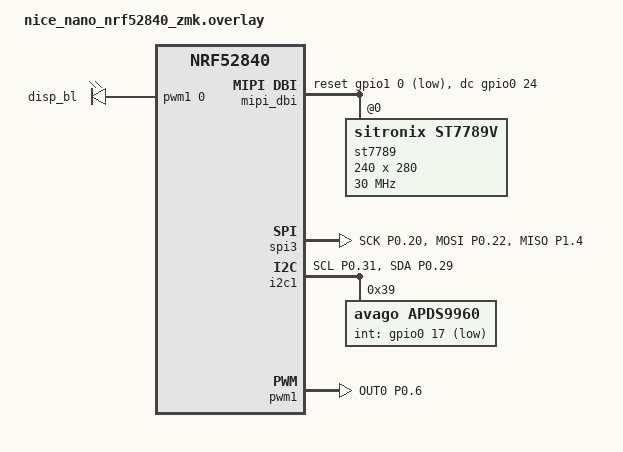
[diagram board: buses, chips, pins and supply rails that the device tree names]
/*
 * nice!nano v2 overlay for prospector_adapter
 *
 * Pin mapping (nice!nano v2 silkscreen -> nRF52840 GPIO):
 *   D1  = P0.06   backlight PWM
 *   D2  = P0.17   APDS9960 INT
 *   D3  = P0.20   SPI SCK
 *   D4  = P0.22   SPI MOSI
 *   D5  = P0.24   display DC (data/command)
 *   D6  = P1.00   display RST
 *   D7  = P0.11   display CS
 *   D8  = P1.04   SPI MISO (unused - write-only display, pin reserved)
 *   D20 = P0.29   I2C SDA
 *   D21 = P0.31   I2C SCL
 *
 * Targets the Waveshare 1.69" ST7789V2 display (rb-wav-886 / rb-wav-887).
 */

/ {
    pwmleds {
        compatible = "pwm-leds";
        disp_bl: pwm_led_1 {
            /* PWM_POLARITY_NORMAL here; inversion handled in pinctrl below */
            pwms = <&pwm1 0 PWM_MSEC(1) PWM_POLARITY_NORMAL>;
        };
    };
};

/* SPI2 shares pins we need - disable it */
&spi2 {
    status = "disabled";
};

&pinctrl {
    spi3_default: spi3_default {
        group1 {
            psels = <NRF_PSEL(SPIM_SCK,  0, 20)>,   /* D3 */
                    <NRF_PSEL(SPIM_MOSI, 0, 22)>,   /* D4 */
                    <NRF_PSEL(SPIM_MISO, 1,  4)>;   /* D8 - reserved, not wired */
        };
    };

    spi3_sleep: spi3_sleep {
        group1 {
            psels = <NRF_PSEL(SPIM_SCK,  0, 20)>,
                    <NRF_PSEL(SPIM_MOSI, 0, 22)>,
                    <NRF_PSEL(SPIM_MISO, 1,  4)>;
            low-power-enable;
        };
    };

    pwm1_default: pwm1_default {
        group1 {
            psels = <NRF_PSEL(PWM_OUT0, 0, 6)>;   /* D1 */
            nordic,invert;
        };
    };

    pwm1_sleep: pwm1_sleep {
        group1 {
            psels = <NRF_PSEL(PWM_OUT0, 0, 6)>;
            low-power-enable;
        };
    };

    i2c1_default: i2c1_default {
        group1 {
            psels = <NRF_PSEL(TWIM_SCL, 0, 31)>,   /* D21 */
                    <NRF_PSEL(TWIM_SDA, 0, 29)>;   /* D20 */
        };
    };

    i2c1_sleep: i2c1_sleep {
        group1 {
            psels = <NRF_PSEL(TWIM_SCL, 0, 31)>,
                    <NRF_PSEL(TWIM_SDA, 0, 29)>;
            low-power-enable;
        };
    };
};

&spi3 {
    status = "okay";
    pinctrl-0 = <&spi3_default>;
    pinctrl-1 = <&spi3_sleep>;
    pinctrl-names = "default", "sleep";
    cs-gpios = <&gpio0 11 GPIO_ACTIVE_LOW>;   /* D7 */
};

/ {
    mipi_dbi {
        compatible = "zephyr,mipi-dbi-spi";
        spi-dev = <&spi3>;
        dc-gpios    = <&gpio0 24 GPIO_ACTIVE_HIGH>;   /* D5 */
        reset-gpios = <&gpio1  0 GPIO_ACTIVE_LOW>;    /* D6 */
        write-only;
        #address-cells = <1>;
        #size-cells = <0>;

        st7789: st7789v@0 {
            compatible = "sitronix,st7789v";
            mipi-max-frequency = <30000000>;
            mipi-mode = "MIPI_DBI_MODE_SPI_4WIRE";
            reg = <0>;
            width  = <240>;
            height = <280>;
            x-offset = <0>;
            y-offset = <20>;
            vcom          = <0x19>;
            gctrl         = <0x35>;
            vrhs          = <0x12>;
            vdvs          = <0x20>;
            mdac          = <0x00>;
            gamma         = <0x01>;
            colmod        = <0x05>;
            lcm           = <0x2c>;
            porch-param   = [ 0c 0c 00 33 33 ];
            cmd2en-param  = [ 5a 69 02 01 ];
            pwctrl1-param = [ a4 a1 ];
            pvgam-param   = [ D0 04 0D 11 13 2B 3F 54 4C 18 0D 0B 1F 23 ];
            nvgam-param   = [ D0 04 0C 11 13 2C 3F 44 51 2F 1F 1F 20 23 ];
            ram-param     = [ 00 F0 ];
            rgb-param     = [ CD 08 14 ];
        };
    };
};

&i2c1 {
    status = "okay";
    pinctrl-0 = <&i2c1_default>;
    pinctrl-1 = <&i2c1_sleep>;
    pinctrl-names = "default", "sleep";

    apds9960: apds9960@39 {
        compatible = "avago,apds9960";
        status = "okay";
        reg = <0x39>;
        int-gpios = <&gpio0 17 (GPIO_ACTIVE_LOW | GPIO_PULL_UP)>;   /* D2 */
    };
};

&pwm1 {
    status = "okay";
    pinctrl-0 = <&pwm1_default>;
    pinctrl-1 = <&pwm1_sleep>;
    pinctrl-names = "default", "sleep";
};
